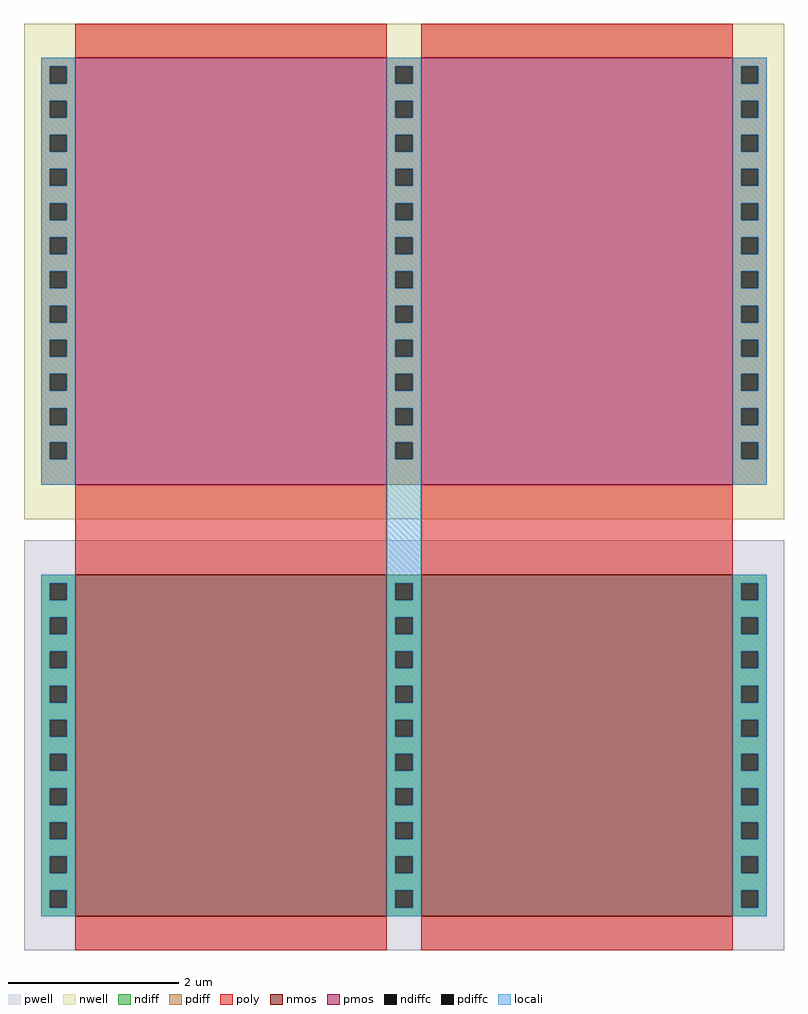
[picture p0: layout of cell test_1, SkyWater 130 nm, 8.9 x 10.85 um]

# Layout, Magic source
magic
tech sky130A
<< poly >>
rect 1060 -65 1425 -40
rect 1465 -65 1830 -40
<< locali >>
rect 1425 -105 1465 0
use nmos_vco  nmos_vco_0
transform 1 0 1060 0 1 -505
box -60 -40 830 440
use pmos_vco  pmos_vco_0
transform 1 0 1060 0 1 0
box -60 -40 830 540
<< end >>

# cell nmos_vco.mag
magic
tech sky130A
<< pwell >>
rect -60 -40 830 440
<< nmos >>
rect 0 0 365 400
rect 405 0 770 400
<< ndiff >>
rect -40 390 0 400
rect -40 370 -30 390
rect -10 370 0 390
rect -40 350 0 370
rect -40 330 -30 350
rect -10 330 0 350
rect -40 310 0 330
rect -40 290 -30 310
rect -10 290 0 310
rect -40 270 0 290
rect -40 250 -30 270
rect -10 250 0 270
rect -40 230 0 250
rect -40 210 -30 230
rect -10 210 0 230
rect -40 190 0 210
rect -40 170 -30 190
rect -10 170 0 190
rect -40 150 0 170
rect -40 130 -30 150
rect -10 130 0 150
rect -40 110 0 130
rect -40 90 -30 110
rect -10 90 0 110
rect -40 70 0 90
rect -40 50 -30 70
rect -10 50 0 70
rect -40 30 0 50
rect -40 10 -30 30
rect -10 10 0 30
rect -40 0 0 10
rect 365 390 405 400
rect 365 370 375 390
rect 395 370 405 390
rect 365 350 405 370
rect 365 330 375 350
rect 395 330 405 350
rect 365 310 405 330
rect 365 290 375 310
rect 395 290 405 310
rect 365 270 405 290
rect 365 250 375 270
rect 395 250 405 270
rect 365 230 405 250
rect 365 210 375 230
rect 395 210 405 230
rect 365 190 405 210
rect 365 170 375 190
rect 395 170 405 190
rect 365 150 405 170
rect 365 130 375 150
rect 395 130 405 150
rect 365 110 405 130
rect 365 90 375 110
rect 395 90 405 110
rect 365 70 405 90
rect 365 50 375 70
rect 395 50 405 70
rect 365 30 405 50
rect 365 10 375 30
rect 395 10 405 30
rect 365 0 405 10
rect 770 390 810 400
rect 770 370 780 390
rect 800 370 810 390
rect 770 350 810 370
rect 770 330 780 350
rect 800 330 810 350
rect 770 310 810 330
rect 770 290 780 310
rect 800 290 810 310
rect 770 270 810 290
rect 770 250 780 270
rect 800 250 810 270
rect 770 230 810 250
rect 770 210 780 230
rect 800 210 810 230
rect 770 190 810 210
rect 770 170 780 190
rect 800 170 810 190
rect 770 150 810 170
rect 770 130 780 150
rect 800 130 810 150
rect 770 110 810 130
rect 770 90 780 110
rect 800 90 810 110
rect 770 70 810 90
rect 770 50 780 70
rect 800 50 810 70
rect 770 30 810 50
rect 770 10 780 30
rect 800 10 810 30
rect 770 0 810 10
<< ndiffc >>
rect -30 370 -10 390
rect -30 330 -10 350
rect -30 290 -10 310
rect -30 250 -10 270
rect -30 210 -10 230
rect -30 170 -10 190
rect -30 130 -10 150
rect -30 90 -10 110
rect -30 50 -10 70
rect -30 10 -10 30
rect 375 370 395 390
rect 375 330 395 350
rect 375 290 395 310
rect 375 250 395 270
rect 375 210 395 230
rect 375 170 395 190
rect 375 130 395 150
rect 375 90 395 110
rect 375 50 395 70
rect 375 10 395 30
rect 780 370 800 390
rect 780 330 800 350
rect 780 290 800 310
rect 780 250 800 270
rect 780 210 800 230
rect 780 170 800 190
rect 780 130 800 150
rect 780 90 800 110
rect 780 50 800 70
rect 780 10 800 30
<< poly >>
rect 0 400 365 440
rect 405 400 770 440
rect 0 -40 365 0
rect 405 -40 770 0
<< locali >>
rect -40 390 0 400
rect -40 370 -30 390
rect -10 370 0 390
rect -40 350 0 370
rect -40 330 -30 350
rect -10 330 0 350
rect -40 310 0 330
rect -40 290 -30 310
rect -10 290 0 310
rect -40 270 0 290
rect -40 250 -30 270
rect -10 250 0 270
rect -40 230 0 250
rect -40 210 -30 230
rect -10 210 0 230
rect -40 190 0 210
rect -40 170 -30 190
rect -10 170 0 190
rect -40 150 0 170
rect -40 130 -30 150
rect -10 130 0 150
rect -40 110 0 130
rect -40 90 -30 110
rect -10 90 0 110
rect -40 70 0 90
rect -40 50 -30 70
rect -10 50 0 70
rect -40 30 0 50
rect -40 10 -30 30
rect -10 10 0 30
rect -40 0 0 10
rect 365 390 405 400
rect 365 370 375 390
rect 395 370 405 390
rect 365 350 405 370
rect 365 330 375 350
rect 395 330 405 350
rect 365 310 405 330
rect 365 290 375 310
rect 395 290 405 310
rect 365 270 405 290
rect 365 250 375 270
rect 395 250 405 270
rect 365 230 405 250
rect 365 210 375 230
rect 395 210 405 230
rect 365 190 405 210
rect 365 170 375 190
rect 395 170 405 190
rect 365 150 405 170
rect 365 130 375 150
rect 395 130 405 150
rect 365 110 405 130
rect 365 90 375 110
rect 395 90 405 110
rect 365 70 405 90
rect 365 50 375 70
rect 395 50 405 70
rect 365 30 405 50
rect 365 10 375 30
rect 395 10 405 30
rect 365 0 405 10
rect 770 390 810 400
rect 770 370 780 390
rect 800 370 810 390
rect 770 350 810 370
rect 770 330 780 350
rect 800 330 810 350
rect 770 310 810 330
rect 770 290 780 310
rect 800 290 810 310
rect 770 270 810 290
rect 770 250 780 270
rect 800 250 810 270
rect 770 230 810 250
rect 770 210 780 230
rect 800 210 810 230
rect 770 190 810 210
rect 770 170 780 190
rect 800 170 810 190
rect 770 150 810 170
rect 770 130 780 150
rect 800 130 810 150
rect 770 110 810 130
rect 770 90 780 110
rect 800 90 810 110
rect 770 70 810 90
rect 770 50 780 70
rect 800 50 810 70
rect 770 30 810 50
rect 770 10 780 30
rect 800 10 810 30
rect 770 0 810 10
<< labels >>
rlabel locali -20 400 -20 400 1 S
port 1 n
rlabel locali 385 400 385 400 1 D
port 2 n
rlabel locali 790 400 790 400 1 S
port 3 n
rlabel poly 170 -40 170 -40 5 G
port 4 s
rlabel poly 590 -40 590 -40 5 G
port 5 s
<< end >>

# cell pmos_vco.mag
magic
tech sky130A
<< nwell >>
rect -60 -40 830 540
<< pmos >>
rect 0 0 365 500
rect 405 0 770 500
<< pdiff >>
rect -40 490 0 500
rect -40 470 -30 490
rect -10 470 0 490
rect -40 450 0 470
rect -40 430 -30 450
rect -10 430 0 450
rect -40 410 0 430
rect -40 390 -30 410
rect -10 390 0 410
rect -40 370 0 390
rect -40 350 -30 370
rect -10 350 0 370
rect -40 330 0 350
rect -40 310 -30 330
rect -10 310 0 330
rect -40 290 0 310
rect -40 270 -30 290
rect -10 270 0 290
rect -40 250 0 270
rect -40 230 -30 250
rect -10 230 0 250
rect -40 210 0 230
rect -40 190 -30 210
rect -10 190 0 210
rect -40 170 0 190
rect -40 150 -30 170
rect -10 150 0 170
rect -40 130 0 150
rect -40 110 -30 130
rect -10 110 0 130
rect -40 90 0 110
rect -40 70 -30 90
rect -10 70 0 90
rect -40 50 0 70
rect -40 30 -30 50
rect -10 30 0 50
rect -40 0 0 30
rect 365 490 405 500
rect 365 470 375 490
rect 395 470 405 490
rect 365 450 405 470
rect 365 430 375 450
rect 395 430 405 450
rect 365 410 405 430
rect 365 390 375 410
rect 395 390 405 410
rect 365 370 405 390
rect 365 350 375 370
rect 395 350 405 370
rect 365 330 405 350
rect 365 310 375 330
rect 395 310 405 330
rect 365 290 405 310
rect 365 270 375 290
rect 395 270 405 290
rect 365 250 405 270
rect 365 230 375 250
rect 395 230 405 250
rect 365 210 405 230
rect 365 190 375 210
rect 395 190 405 210
rect 365 170 405 190
rect 365 150 375 170
rect 395 150 405 170
rect 365 130 405 150
rect 365 110 375 130
rect 395 110 405 130
rect 365 90 405 110
rect 365 70 375 90
rect 395 70 405 90
rect 365 50 405 70
rect 365 30 375 50
rect 395 30 405 50
rect 365 0 405 30
rect 770 490 810 500
rect 770 470 780 490
rect 800 470 810 490
rect 770 450 810 470
rect 770 430 780 450
rect 800 430 810 450
rect 770 410 810 430
rect 770 390 780 410
rect 800 390 810 410
rect 770 370 810 390
rect 770 350 780 370
rect 800 350 810 370
rect 770 330 810 350
rect 770 310 780 330
rect 800 310 810 330
rect 770 290 810 310
rect 770 270 780 290
rect 800 270 810 290
rect 770 250 810 270
rect 770 230 780 250
rect 800 230 810 250
rect 770 210 810 230
rect 770 190 780 210
rect 800 190 810 210
rect 770 170 810 190
rect 770 150 780 170
rect 800 150 810 170
rect 770 130 810 150
rect 770 110 780 130
rect 800 110 810 130
rect 770 90 810 110
rect 770 70 780 90
rect 800 70 810 90
rect 770 50 810 70
rect 770 30 780 50
rect 800 30 810 50
rect 770 0 810 30
<< pdiffc >>
rect -30 470 -10 490
rect -30 430 -10 450
rect -30 390 -10 410
rect -30 350 -10 370
rect -30 310 -10 330
rect -30 270 -10 290
rect -30 230 -10 250
rect -30 190 -10 210
rect -30 150 -10 170
rect -30 110 -10 130
rect -30 70 -10 90
rect -30 30 -10 50
rect 375 470 395 490
rect 375 430 395 450
rect 375 390 395 410
rect 375 350 395 370
rect 375 310 395 330
rect 375 270 395 290
rect 375 230 395 250
rect 375 190 395 210
rect 375 150 395 170
rect 375 110 395 130
rect 375 70 395 90
rect 375 30 395 50
rect 780 470 800 490
rect 780 430 800 450
rect 780 390 800 410
rect 780 350 800 370
rect 780 310 800 330
rect 780 270 800 290
rect 780 230 800 250
rect 780 190 800 210
rect 780 150 800 170
rect 780 110 800 130
rect 780 70 800 90
rect 780 30 800 50
<< poly >>
rect 0 500 365 540
rect 405 500 770 540
rect 0 -40 365 0
rect 405 -40 770 0
<< locali >>
rect -40 490 0 500
rect -40 470 -30 490
rect -10 470 0 490
rect -40 450 0 470
rect -40 430 -30 450
rect -10 430 0 450
rect -40 410 0 430
rect -40 390 -30 410
rect -10 390 0 410
rect -40 370 0 390
rect -40 350 -30 370
rect -10 350 0 370
rect -40 330 0 350
rect -40 310 -30 330
rect -10 310 0 330
rect -40 290 0 310
rect -40 270 -30 290
rect -10 270 0 290
rect -40 250 0 270
rect -40 230 -30 250
rect -10 230 0 250
rect -40 210 0 230
rect -40 190 -30 210
rect -10 190 0 210
rect -40 170 0 190
rect -40 150 -30 170
rect -10 150 0 170
rect -40 130 0 150
rect -40 110 -30 130
rect -10 110 0 130
rect -40 90 0 110
rect -40 70 -30 90
rect -10 70 0 90
rect -40 50 0 70
rect -40 30 -30 50
rect -10 30 0 50
rect -40 0 0 30
rect 365 490 405 500
rect 365 470 375 490
rect 395 470 405 490
rect 365 450 405 470
rect 365 430 375 450
rect 395 430 405 450
rect 365 410 405 430
rect 365 390 375 410
rect 395 390 405 410
rect 365 370 405 390
rect 365 350 375 370
rect 395 350 405 370
rect 365 330 405 350
rect 365 310 375 330
rect 395 310 405 330
rect 365 290 405 310
rect 365 270 375 290
rect 395 270 405 290
rect 365 250 405 270
rect 365 230 375 250
rect 395 230 405 250
rect 365 210 405 230
rect 365 190 375 210
rect 395 190 405 210
rect 365 170 405 190
rect 365 150 375 170
rect 395 150 405 170
rect 365 130 405 150
rect 365 110 375 130
rect 395 110 405 130
rect 365 90 405 110
rect 365 70 375 90
rect 395 70 405 90
rect 365 50 405 70
rect 365 30 375 50
rect 395 30 405 50
rect 365 0 405 30
rect 770 490 810 500
rect 770 470 780 490
rect 800 470 810 490
rect 770 450 810 470
rect 770 430 780 450
rect 800 430 810 450
rect 770 410 810 430
rect 770 390 780 410
rect 800 390 810 410
rect 770 370 810 390
rect 770 350 780 370
rect 800 350 810 370
rect 770 330 810 350
rect 770 310 780 330
rect 800 310 810 330
rect 770 290 810 310
rect 770 270 780 290
rect 800 270 810 290
rect 770 250 810 270
rect 770 230 780 250
rect 800 230 810 250
rect 770 210 810 230
rect 770 190 780 210
rect 800 190 810 210
rect 770 170 810 190
rect 770 150 780 170
rect 800 150 810 170
rect 770 130 810 150
rect 770 110 780 130
rect 800 110 810 130
rect 770 90 810 110
rect 770 70 780 90
rect 800 70 810 90
rect 770 50 810 70
rect 770 30 780 50
rect 800 30 810 50
rect 770 0 810 30
<< labels >>
rlabel locali -20 500 -20 500 1 S
port 1 n
rlabel locali 385 500 385 500 1 D
port 2 n
rlabel locali 790 500 790 500 1 S
port 3 n
rlabel poly 180 -40 180 -40 5 G
port 4 s
rlabel poly 585 -40 585 -40 5 G
port 5 s
<< end >>
